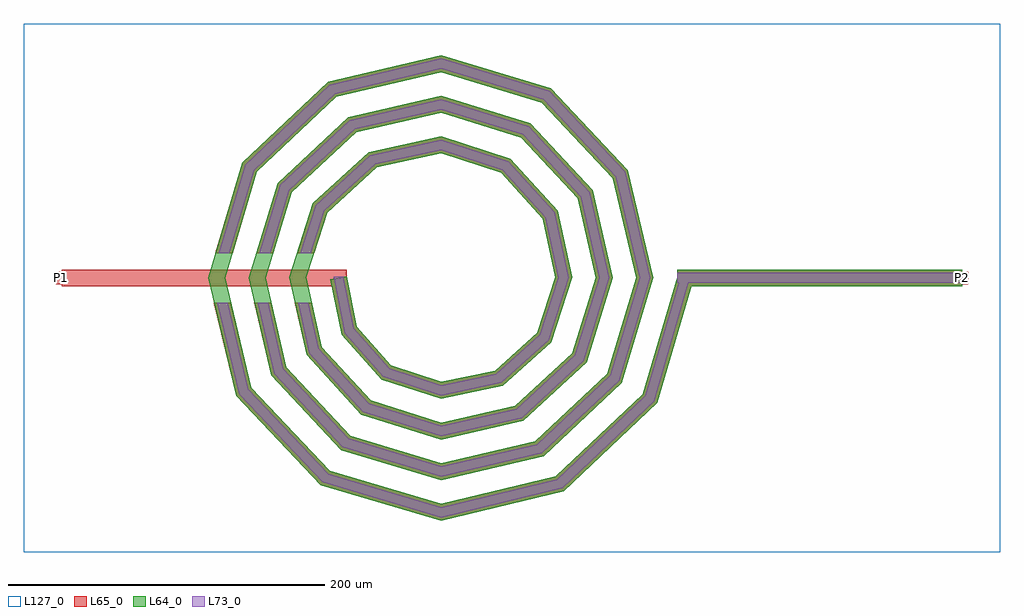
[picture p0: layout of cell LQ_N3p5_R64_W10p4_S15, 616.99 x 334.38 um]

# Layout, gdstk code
import gdstk
lib = gdstk.Library(unit=1e-6, precision=1e-09)
def R(c, l, rs):  # rectangles x0, y0, x1, y1
    for r in rs: c.add(gdstk.rectangle(r[:2], r[2:], *l))
def P(c, l, *ps):  # polygons
    for p in ps: c.add(gdstk.Polygon(p, *l))
L64_0 = (64, 0)
L65_0 = (65, 0)
L73_0 = (73, 0)
L127_0 = (127, 0)

lq_n3p5_r64_w10p4_s15 = lib.new_cell('LQ_N3p5_R64_W10p4_S15')
R(lq_n3p5_r64_w10p4_s15, L64_0, [(149.456,-5.2,329.456,5.2)])
P(lq_n3p5_r64_w10p4_s15, L64_0, [(-53.101,-31.029),(-31.551,-55.271),(0.302,-65.782),(34.215,-58.676),(60.819,-34.785),(72.203,0.277),(64.249,37.406),(38.015,66.369),(0.256,78.625),(-40.599,69.821),(-71.921,41.243),(-85.048,0.238),(-75.391,-43.795),(-44.468,-77.475),(0.222,-91.47),(46.994,-80.961),(83.03,-47.692),(97.893,0.208),(86.529,50.193),(50.914,88.585),(0.196,104.315),(-53.394,92.097),(-94.142,54.135),(-110.738,0.185),(-97.665,-56.597),(-57.355,-99.699),(0.175,-117.16),(59.8,-103.232),(105.257,-60.574),(123.583,0.167),(108.798,63.004),(63.793,110.815),(0.159,130.006),(-66.209,114.364),(-116.373,67.01),(-136.428,0.152),(-119.93,-69.414),(-70.228,-121.932),(0.145,-142.851),(72.62,-125.495),(127.491,-73.444),(149.67,1.476),(159.642,-1.476),(136.672,-79.07),(77.754,-134.96),(0.145,-153.615),(-75.864,-131.106),(-129.401,-74.537),(-147.192,0.152),(-125.54,72.659),(-71.319,123.841),(0.159,140.769),(69.454,119.974),(118.283,68.101),(134.345,0.167),(114.408,-66.249),(64.882,-112.724),(0.175,-127.922),(-63.045,-108.84),(-107.166,-61.663),(-121.499,0.185),(-103.273,59.842),(-58.442,101.609),(0.196,115.076),(56.64,97.704),(96.052,55.22),(108.652,0.208),(92.135,-53.44),(51.997,-90.496),(0.222,-102.229),(-50.241,-86.565),(-84.94,-48.772),(-95.806,0.238),(-80.994,47.043),(-45.545,79.386),(0.256,89.382),(43.848,75.421),(73.833,42.316),(82.958,0.277),(69.847,-40.655),(39.084,-68.282),(0.302,-76.534),(-37.466,-64.27),(-62.732,-35.847),(-69.83,-1.039),(-59.64,1.039)])
R(lq_n3p5_r64_w10p4_s15, L65_0, [(-239.535,-5.2,-59.535,5.2), (149.456,-5.2,329.456,5.2), (-243.535,-4,-235.535,4), (325.456,-4,333.456,4)])
P(lq_n3p5_r64_w10p4_s15, L65_0, [(-119.93,-69.414),(-70.228,-121.932),(0.145,-142.851),(72.62,-125.495),(127.491,-73.444),(149.67,1.476),(159.642,-1.476),(136.672,-79.071),(77.754,-134.96),(0.145,-153.615),(-75.864,-131.106),(-129.401,-74.537),(-143.44,-15.6),(-132.749,-15.6)],
  [(-97.665,-56.597),(-57.355,-99.699),(0.175,-117.16),(59.8,-103.232),(105.257,-60.574),(123.583,0.167),(108.798,63.004),(63.793,110.815),(0.159,130.006),(-66.209,114.364),(-116.373,67.01),(-131.725,15.6),(-142.579,15.6),(-125.541,72.659),(-71.319,123.842),(0.159,140.769),(69.454,119.974),(118.283,68.101),(134.345,0.167),(114.408,-66.249),(64.882,-112.724),(0.175,-127.922),(-63.045,-108.84),(-107.166,-61.663),(-117.841,-15.6),(-107.165,-15.6)],
  [(-75.391,-43.795),(-44.468,-77.475),(0.222,-91.47),(46.994,-80.961),(83.03,-47.692),(97.893,0.208),(86.529,50.193),(50.914,88.585),(0.196,104.315),(-53.394,92.097),(-94.142,54.135),(-105.915,15.6),(-116.79,15.6),(-103.273,59.842),(-58.442,101.609),(0.196,115.076),(56.64,97.704),(96.052,55.22),(108.653,0.208),(92.135,-53.44),(51.997,-90.496),(0.222,-102.229),(-50.241,-86.565),(-84.941,-48.772),(-92.295,-15.6),(-81.642,-15.6)],
  [(-31.551,-55.271),(0.302,-65.782),(34.215,-58.676),(60.819,-34.785),(72.204,0.277),(64.249,37.406),(38.015,66.369),(0.256,78.626),(-40.599,69.821),(-71.921,41.243),(-80.036,15.6),(-90.944,15.6),(-80.994,47.043),(-45.546,79.386),(0.256,89.382),(43.848,75.421),(73.833,42.316),(82.958,0.277),(69.847,-40.655),(39.084,-68.282),(0.302,-76.534),(-37.466,-64.27),(-62.732,-35.847),(-69.83,-1.039),(-59.64,1.039),(-53.101,-31.029)])
R(lq_n3p5_r64_w10p4_s15, L73_0, [(149.456,-3.2,329.456,3.2)])
P(lq_n3p5_r64_w10p4_s15, L73_0, [(-121.751,-70.399),(-71.312,-123.697),(0.089,-144.921),(73.607,-127.315),(129.257,-74.526),(151.588,0.908),(157.724,0.908),(134.907,-77.989),(76.767,-133.14),(0.089,-151.545),(-74.78,-129.342),(-127.579,-73.552),(-141.384,-15.6),(-134.805,-15.6)],
  [(-99.492,-57.571),(-58.449,-101.457),(0.108,-119.23),(60.777,-105.057),(107.016,-61.666),(125.653,0.103),(110.622,63.984),(64.881,112.576),(0.098,132.075),(-67.192,116.187),(-118.136,68.097),(-133.812,15.6),(-140.491,15.6),(-123.778,71.572),(-70.337,122.019),(0.098,138.699),(68.365,118.213),(116.459,67.121),(132.276,0.103),(112.648,-65.158),(63.905,-110.899),(0.108,-125.853),(-61.951,-107.082),(-105.339,-60.688),(-115.788,-15.6),(-109.218,-15.6)],
  [(-77.228,-44.752),(-45.578,-79.223),(0.137,-93.539),(47.956,-82.795),(84.781,-48.797),(99.962,0.128),(88.361,51.16),(52.015,90.339),(0.121,106.384),(-54.365,93.927),(-95.898,55.233),(-108.006,15.6),(-114.698,15.6),(-101.517,58.745),(-57.471,99.78),(0.121,113.006),(55.539,95.951),(94.221,54.254),(106.583,0.128),(90.384,-52.334),(51.035,-88.662),(0.137,-100.16),(-49.13,-84.817),(-83.104,-47.815),(-90.246,-15.6),(-83.691,-15.6)],
  [(-32.688,-57.001),(0.186,-67.85),(35.151,-60.523),(62.555,-35.914),(74.272,0.17),(66.092,38.35),(39.137,68.11),(0.157,80.694),(-41.55,71.66),(-73.666,42.358),(-82.134,15.6),(-88.846,15.6),(-79.249,45.928),(-44.594,77.547),(0.157,87.313),(42.726,73.681),(71.99,41.372),(80.89,0.17),(68.111,-39.526),(38.148,-66.434),(0.186,-74.466),(-36.328,-62.54),(-60.88,-34.921),(-67.87,0.639),(-61.6,0.639),(-54.953,-31.955)])
R(lq_n3p5_r64_w10p4_s15, L127_0, [(-263.535,-173.615,353.456,160.769)])
lq_n3p5_r64_w10p4_s15.add(gdstk.Label('P2', (329.456,0), layer=65, texttype=0))
lq_n3p5_r64_w10p4_s15.add(gdstk.Label('P1', (-239.535,0), layer=65, texttype=0))
lq_n3p5_r64_w10p4_s15.add(gdstk.Label('P2', (333.456,0), layer=145, texttype=0))
lq_n3p5_r64_w10p4_s15.add(gdstk.Label('P1', (-243.535,0), layer=145, texttype=0))

lib.write_gds('LQ_N3p5_R64_W10p4_S15.gds')
